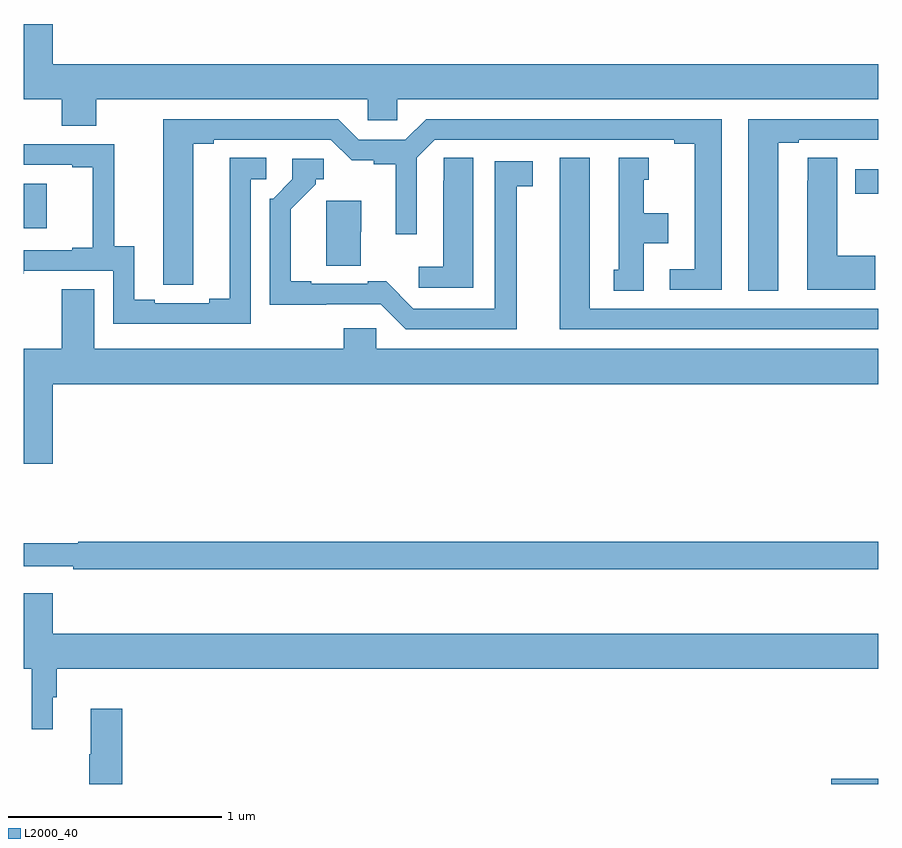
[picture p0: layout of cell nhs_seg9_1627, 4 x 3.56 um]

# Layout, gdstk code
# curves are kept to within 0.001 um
import gdstk
lib = gdstk.Library(unit=1e-6, precision=1e-09)
def R(c, l, rs):  # rectangles x0, y0, x1, y1
    for r in rs: c.add(gdstk.rectangle(r[:2], r[2:], *l))
def P(c, l, *ps):  # polygons
    for p in ps: c.add(gdstk.Polygon(p, *l))
L2000_40 = (2000, 40)

nhs_seg9_1627 = lib.new_cell('nhs_seg9_1627')
R(nhs_seg9_1627, L2000_40, [(204.779,1242.5,205,1242.524), (201,1245.101,201.109,1245.31), (204.893,1245.262,205,1245.378)])
P(nhs_seg9_1627, L2000_40, [(201.339,1245.704),(202.611,1245.704),(202.611,1245.606),(202.749,1245.606),(202.749,1245.704),(205,1245.704),(205,1245.868),(201.136,1245.868),(201.136,1246.057),(201,1246.057),(201,1245.704),(201.179,1245.704),(201.179,1245.58),(201.339,1245.58)],
  [(204.268,1245.612),(202.883,1245.612),(202.787,1245.516),(202.569,1245.516),(202.473,1245.612),(201.653,1245.612),(201.654,1244.836),(201.793,1244.836),(201.793,1245.496),(201.889,1245.496),(201.889,1245.516),(202.437,1245.516),(202.535,1245.419),(202.638,1245.419),(202.638,1245.4),(202.742,1245.4),(202.742,1245.072),(202.839,1245.072),(202.839,1245.432),(202.923,1245.516),(204.044,1245.516),(204.044,1245.496),(204.14,1245.496),(204.14,1244.91),(204.024,1244.91),(204.024,1244.814),(204.268,1244.814)],
  [(204.532,1245.501),(204.628,1245.501),(204.628,1245.516),(204.904,1245.516),(204.904,1245.515),(205,1245.515),(205,1245.612),(204.392,1245.612),(204.392,1244.809),(204.532,1244.809)],
  [(202.062,1245.33),(202.135,1245.33),(202.135,1245.431),(201.965,1245.431),(201.965,1244.771),(201.869,1244.771),(201.869,1244.751),(201.613,1244.751),(201.613,1244.766),(201.517,1244.766),(201.517,1245.017),(201.423,1245.017),(201.423,1245.495),(201,1245.495),(201,1245.399),(201.227,1245.399),(201.227,1245.387),(201.323,1245.387),(201.323,1245.01),(201.227,1245.01),(201.227,1244.997),(201,1244.997),(201,1244.889),(201.001,1244.889),(201.001,1244.901),(201.42,1244.901),(201.42,1244.655),(202.062,1244.655)],
  [(204.985,1244.973),(204.808,1244.973),(204.808,1245.431),(204.669,1245.431),(204.669,1245.323),(204.668,1245.323),(204.668,1244.813),(204.985,1244.813)],
  [(203.104,1245.431),(202.965,1245.431),(202.965,1245.323),(202.964,1245.323),(202.964,1244.92),(202.848,1244.92),(202.848,1244.823),(203.104,1244.823)],
  [(205,1244.724),(203.65,1244.724),(203.65,1245.43),(203.51,1245.43),(203.51,1244.628),(205,1244.628)],
  [(203.902,1245.032),(204.016,1245.032),(204.016,1245.172),(203.902,1245.172),(203.902,1245.327),(203.926,1245.327),(203.926,1245.43),(203.786,1245.43),(203.786,1244.907),(203.762,1244.907),(203.762,1244.809),(203.902,1244.809)],
  [(203.308,1245.298),(203.383,1245.298),(203.383,1245.414),(203.204,1245.414),(203.204,1244.724),(202.824,1244.724),(202.696,1244.852),(202.61,1244.852),(202.61,1244.841),(202.345,1244.841),(202.345,1244.854),(202.249,1244.854),(202.249,1245.19),(202.366,1245.307),(202.366,1245.33),(202.405,1245.33),(202.405,1245.426),(202.257,1245.426),(202.257,1245.33),(202.167,1245.24),(202.152,1245.24),(202.152,1244.744),(202.671,1244.745),(202.788,1244.628),(203.308,1244.628)],
  [(202.578,1245.084),(202.579,1245.084),(202.579,1245.229),(202.415,1245.229),(202.415,1244.926),(202.578,1244.926)],
  [(201.136,1244.372),(205,1244.372),(205,1244.536),(202.65,1244.536),(202.65,1244.634),(202.499,1244.634),(202.499,1244.536),(201.331,1244.536),(201.331,1244.816),(201.179,1244.816),(201.179,1244.536),(201,1244.536),(201,1243.998),(201.136,1243.998)],
  [(205,1243.634),(201.255,1243.634),(201.255,1243.627),(201,1243.627),(201,1243.518),(201.232,1243.518),(201.232,1243.506),(205,1243.506)],
  [(201.136,1242.906),(201.155,1242.906),(201.155,1243.04),(205,1243.04),(205,1243.204),(201.136,1243.204),(201.136,1243.393),(201,1243.393),(201,1243.04),(201.037,1243.04),(201.037,1242.756),(201.136,1242.756)],
  [(201.461,1242.853),(201.314,1242.853),(201.314,1242.64),(201.307,1242.64),(201.307,1242.5),(201.461,1242.5)])

lib.write_gds('nhs_seg9_1627.gds')
